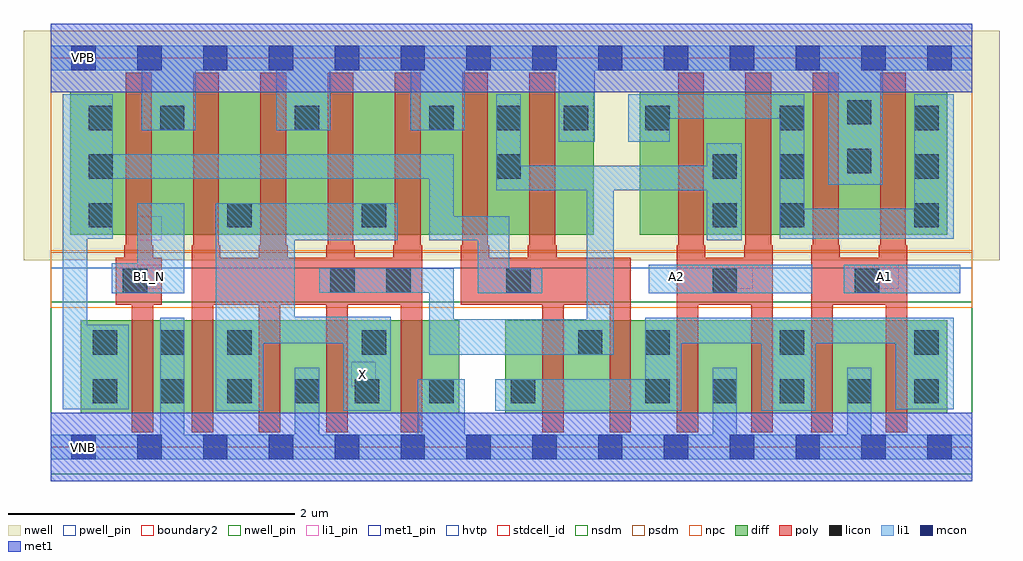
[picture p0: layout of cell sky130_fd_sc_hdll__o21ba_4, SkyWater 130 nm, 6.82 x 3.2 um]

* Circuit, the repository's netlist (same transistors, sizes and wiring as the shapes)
* Copyright 2020 The SkyWater PDK Authors
*
* Licensed under the Apache License, Version 2.0 (the "License");
* you may not use this file except in compliance with the License.
* You may obtain a copy of the License at
*
*     https://www.apache.org/licenses/LICENSE-2.0
*
* Unless required by applicable law or agreed to in writing, software
* distributed under the License is distributed on an "AS IS" BASIS,
* WITHOUT WARRANTIES OR CONDITIONS OF ANY KIND, either express or implied.
* See the License for the specific language governing permissions and
* limitations under the License.
*
* SPDX-License-Identifier: Apache-2.0

.SUBCKT sky130_fd_sc_hdll__o21ba_4 A1 A2 B1_N VGND VNB VPB VPWR X
*.PININFO A1:I A2:I B1_N:I VGND:I VNB:I VPB:I VPWR:I X:O
MMPA0 VPWR A1 sndA1 VPB sky130_fd_pr__pfet_01v8_hvt m=2 w=1.0U l=0.18U mult=1 sa=0.265
+ sb=0.265 sd=0.28 area=0.063 perim=1.14
MMPA1 sndA1 A2 y VPB sky130_fd_pr__pfet_01v8_hvt m=2 w=1.0U l=0.18U mult=1 sa=0.265
+ sb=0.265 sd=0.28 area=0.063 perim=1.14
MMPB0 VPWR B1 y VPB sky130_fd_pr__pfet_01v8_hvt m=2 w=1.0U l=0.18U mult=1 sa=0.265
+ sb=0.265 sd=0.28 area=0.063 perim=1.14
MMIPB1N B1 B1_N VPWR VPB sky130_fd_pr__pfet_01v8_hvt m=1 w=1.0U l=0.18U mult=1
+ sa=0.265 sb=0.265 sd=0.28 area=0.063 perim=1.14
MMIPX X y VPWR VPB sky130_fd_pr__pfet_01v8_hvt m=4 w=1.0U l=0.18U mult=1 sa=0.265
+ sb=0.265 sd=0.28 area=0.063 perim=1.14
MMNA0 pndA A1 VGND VNB sky130_fd_pr__nfet_01v8 m=2 w=0.65U l=0.15U mult=1 sa=0.265
+ sb=0.265 sd=0.28 area=0.063 perim=1.14
MMNA1 pndA A2 VGND VNB sky130_fd_pr__nfet_01v8 m=2 w=0.65U l=0.15U mult=1 sa=0.265
+ sb=0.265 sd=0.28 area=0.063 perim=1.14
MMNB0 y B1 pndA VNB sky130_fd_pr__nfet_01v8 m=2 w=0.65U l=0.15U mult=1 sa=0.265
+ sb=0.265 sd=0.28 area=0.063 perim=1.14
MMINB1N B1 B1_N VGND VNB sky130_fd_pr__nfet_01v8 m=1 w=0.65U l=0.15U mult=1 sa=0.265
+ sb=0.265 sd=0.28 area=0.063 perim=1.14
MMINX X y VGND VNB sky130_fd_pr__nfet_01v8 m=4 w=0.65U l=0.15U mult=1 sa=0.265
+ sb=0.265 sd=0.28 area=0.063 perim=1.14
.ENDS sky130_fd_sc_hdll__o21ba_4

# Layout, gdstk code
import gdstk
lib = gdstk.Library(unit=1e-6, precision=1e-09)
def R(c, l, rs):  # rectangles x0, y0, x1, y1
    for r in rs: c.add(gdstk.rectangle(r[:2], r[2:], *l))
def A(c, l, x, y, w, h, nx, ny, dx, dy):  # array of equal rectangles
    R(c, l, [(x+i*dx, y+j*dy, x+i*dx+w, y+j*dy+h) for i in range(nx) for j in range(ny)])
def P(c, l, *ps):  # polygons
    for p in ps: c.add(gdstk.Polygon(p, *l))
nwell_pin = (64, 16)
nwell = (64, 20)
diff = (65, 20)
poly = (66, 20)
licon = (66, 44)
li1_pin = (67, 16)
li1 = (67, 20)
mcon = (67, 44)
met1_pin = (68, 16)
met1 = (68, 20)
hvtp = (78, 44)
stdcell_id = (81, 4)
nsdm = (93, 44)
psdm = (94, 20)
npc = (95, 20)
pwell_pin = (122, 16)
boundary2 = (236, 0)

sky130_fd_sc_hdll__o21ba = lib.new_cell('sky130_fd_sc_hdll__o21ba_4')
R(sky130_fd_sc_hdll__o21ba, nwell_pin, [(0.145,2.635,0.315,2.805)])
R(sky130_fd_sc_hdll__o21ba, nwell, [(-0.19,1.305,6.63,2.91)])
R(sky130_fd_sc_hdll__o21ba, diff, [(0.21,0.235,2.855,0.885), (3.175,0.235,6.265,0.885), (0.135,1.485,3.795,2.485), (4.115,1.485,6.265,2.485)])
P(sky130_fd_sc_hdll__o21ba, poly, [(0.775,1.325),(0.715,1.325),(0.715,1.41),(0.705,1.41),(0.705,2.615),(0.525,2.615),(0.525,1.41),(0.515,1.41),(0.515,1.325),(0.455,1.325),(0.455,0.995),(0.565,0.995),(0.565,0.105),(0.715,0.105),(0.715,0.995),(0.775,0.995)],
  [(2.595,1.41),(2.585,1.41),(2.585,2.615),(2.405,2.615),(2.405,1.41),(2.395,1.41),(2.395,1.325),(2.125,1.325),(2.125,1.41),(2.115,1.41),(2.115,2.615),(1.935,2.615),(1.935,1.41),(1.925,1.41),(1.925,1.325),(1.655,1.325),(1.655,1.41),(1.645,1.41),(1.645,2.615),(1.465,2.615),(1.465,1.41),(1.455,1.41),(1.455,1.325),(1.185,1.325),(1.185,1.41),(1.175,1.41),(1.175,2.615),(0.995,2.615),(0.995,1.41),(0.985,1.41),(0.985,0.105),(1.135,0.105),(1.135,0.995),(1.455,0.995),(1.455,0.105),(1.605,0.105),(1.605,0.995),(1.925,0.995),(1.925,0.105),(2.075,0.105),(2.075,0.995),(2.445,0.995),(2.445,0.105),(2.595,0.105)],
  [(4.055,1.325),(3.535,1.325),(3.535,1.41),(3.525,1.41),(3.525,2.615),(3.345,2.615),(3.345,1.41),(3.335,1.41),(3.335,1.325),(3.065,1.325),(3.065,1.41),(3.055,1.41),(3.055,2.615),(2.875,2.615),(2.875,1.41),(2.865,1.41),(2.865,0.995),(3.435,0.995),(3.435,0.105),(3.585,0.105),(3.585,0.995),(3.905,0.995),(3.905,0.105),(4.055,0.105)],
  [(5.045,1.41),(5.035,1.41),(5.035,2.615),(4.855,2.615),(4.855,1.41),(4.845,1.41),(4.845,1.325),(4.575,1.325),(4.575,1.41),(4.565,1.41),(4.565,2.615),(4.385,2.615),(4.385,1.41),(4.375,1.41),(4.375,0.105),(4.525,0.105),(4.525,0.995),(4.895,0.995),(4.895,0.105),(5.045,0.105)],
  [(5.985,1.41),(5.975,1.41),(5.975,2.615),(5.795,2.615),(5.795,1.41),(5.785,1.41),(5.785,1.325),(5.515,1.325),(5.515,1.41),(5.505,1.41),(5.505,2.615),(5.325,2.615),(5.325,1.41),(5.315,1.41),(5.315,0.105),(5.465,0.105),(5.465,0.995),(5.835,0.995),(5.835,0.105),(5.985,0.105)])
A(sky130_fd_sc_hdll__o21ba, licon, 0.295, 0.305, 0.17, 0.17, 4, 1, 0.47, 0)
A(sky130_fd_sc_hdll__o21ba, licon, 4.155, 0.305, 0.17, 0.17, 5, 1, 0.47, 0)
A(sky130_fd_sc_hdll__o21ba, licon, 0.295, 0.645, 0.17, 0.17, 3, 1, 0.47, 0)
A(sky130_fd_sc_hdll__o21ba, licon, 4.155, 0.645, 0.17, 0.17, 3, 2, 0.94, 1.57)
A(sky130_fd_sc_hdll__o21ba, licon, 0.265, 1.535, 0.17, 0.17, 1, 3, 0, 0.34)
A(sky130_fd_sc_hdll__o21ba, licon, 0.765, 2.215, 0.17, 0.17, 3, 1, 0.94, 0)
R(sky130_fd_sc_hdll__o21ba, licon, [(2.125,0.305,2.295,0.475), (2.645,0.305,2.815,0.475), (3.215,0.305,3.385,0.475), (2.175,0.645,2.345,0.815), (3.685,0.645,3.855,0.815), (0.505,1.075,0.675,1.245), (3.185,1.075,3.355,1.245), (4.625,1.075,4.795,1.245), (5.62,1.075,5.79,1.245), (1.955,1.08,2.125,1.25), (2.345,1.08,2.515,1.25), (1.235,1.535,1.405,1.705), (2.175,1.535,2.345,1.705), (4.625,1.535,4.795,1.705), (5.095,1.535,5.265,1.705), (6.035,1.535,6.205,1.705), (3.115,1.875,3.285,2.045), (4.625,1.875,4.795,2.045), (5.095,1.875,5.265,2.045), (6.035,1.875,6.205,2.045), (5.565,1.915,5.735,2.085), (3.115,2.215,3.285,2.385), (3.585,2.215,3.755,2.385), (5.565,2.255,5.735,2.425)])
R(sky130_fd_sc_hdll__o21ba, li1_pin, [(2.1,0.425,2.27,0.595), (0.605,1.105,0.775,1.275), (4.735,1.105,4.905,1.275), (5.755,1.105,5.925,1.275), (0.605,1.445,0.775,1.615)])
R(sky130_fd_sc_hdll__o21ba, li1, [(4.18,1.075,5.32,1.275), (5.54,1.075,6.355,1.275)])
P(sky130_fd_sc_hdll__o21ba, li1, [(0.935,1.705),(0.605,1.705),(0.605,1.285),(0.425,1.285),(0.425,1.075),(0.935,1.075)],
  [(2.375,0.91),(1.705,0.91),(1.705,1.445),(2.425,1.445),(2.425,1.705),(1.155,1.705),(1.155,0.255),(1.485,0.255),(1.485,0.725),(2.045,0.725),(2.045,0.255),(2.375,0.255)],
  [(3.435,1.245),(3.205,1.245),(3.205,1.615),(2.815,1.615),(2.815,2.045),(0.435,2.045),(0.435,2.465),(0.085,2.465),(0.085,0.265),(0.545,0.265),(0.545,0.855),(0.255,0.855),(0.255,1.455),(0.435,1.455),(0.435,1.875),(2.645,1.875),(2.645,1.445),(2.985,1.445),(2.985,1.075),(3.435,1.075)],
  [(6.44,0.085),(5.735,0.085),(5.735,0.555),(5.565,0.555),(5.565,0.085),(4.795,0.085),(4.795,0.555),(4.625,0.555),(4.625,0.085),(2.895,0.085),(2.895,0.475),(2.565,0.475),(2.565,0.085),(1.875,0.085),(1.875,0.555),(1.705,0.555),(1.705,0.085),(0.935,0.085),(0.935,0.905),(0.765,0.905),(0.765,0.085),(0,0.085),(0,-0.085),(6.44,-0.085)],
  [(6.44,2.805),(0,2.805),(0,2.635),(0.635,2.635),(0.635,2.215),(1.015,2.215),(1.015,2.635),(1.575,2.635),(1.575,2.215),(1.955,2.215),(1.955,2.635),(2.515,2.635),(2.515,2.215),(2.895,2.215),(2.895,2.635),(3.55,2.635),(3.55,2.135),(3.8,2.135),(3.8,2.635),(5.435,2.635),(5.435,1.835),(5.815,1.835),(5.815,2.635),(6.44,2.635)],
  [(4.83,2.125),(4.585,2.125),(4.585,1.965),(3.285,1.965),(3.285,2.465),(3.115,2.465),(3.115,1.795),(3.745,1.795),(3.745,0.895),(2.815,0.895),(2.815,1.25),(1.875,1.25),(1.875,1.08),(2.645,1.08),(2.645,0.645),(3.935,0.645),(3.935,1.795),(4.585,1.795),(4.585,1.445),(4.83,1.445)],
  [(6.31,2.465),(6.035,2.465),(6.035,1.665),(5.265,1.665),(5.265,2.465),(4.035,2.465),(4.035,2.135),(4.325,2.135),(4.325,2.295),(5.095,2.295),(5.095,1.455),(6.31,1.455)],
  [(6.31,0.905),(4.155,0.905),(4.155,0.475),(3.105,0.475),(3.105,0.255),(4.405,0.255),(4.405,0.725),(4.965,0.725),(4.965,0.255),(5.345,0.255),(5.345,0.725),(5.905,0.725),(5.905,0.265),(6.31,0.265)])
A(sky130_fd_sc_hdll__o21ba, mcon, 0.145, -0.085, 0.17, 0.17, 14, 2, 0.46, 2.72)
R(sky130_fd_sc_hdll__o21ba, met1_pin, [(0.145,-0.085,0.315,0.085), (0.145,2.635,0.315,2.805)])
R(sky130_fd_sc_hdll__o21ba, met1, [(0,-0.24,6.44,0.24), (0,2.48,6.44,2.96)])
R(sky130_fd_sc_hdll__o21ba, hvtp, [(0,1.25,6.44,2.72)])
R(sky130_fd_sc_hdll__o21ba, stdcell_id, [(0,0,6.44,2.72)])
R(sky130_fd_sc_hdll__o21ba, nsdm, [(0,-0.19,6.44,1.015)])
R(sky130_fd_sc_hdll__o21ba, psdm, [(0,1.36,6.44,2.91)])
R(sky130_fd_sc_hdll__o21ba, npc, [(0,0.975,6.44,1.375)])
R(sky130_fd_sc_hdll__o21ba, pwell_pin, [(0.145,-0.085,0.315,0.085)])
R(sky130_fd_sc_hdll__o21ba, boundary2, [(0,0,6.44,2.72)])
sky130_fd_sc_hdll__o21ba.add(gdstk.Label('B1_N', (0.69,1.19), layer=67, texttype=5))
sky130_fd_sc_hdll__o21ba.add(gdstk.Label('A1', (5.825,1.19), layer=67, texttype=5))
sky130_fd_sc_hdll__o21ba.add(gdstk.Label('A2', (4.37,1.19), layer=67, texttype=5))
sky130_fd_sc_hdll__o21ba.add(gdstk.Label('X', (2.18,0.51), layer=67, texttype=5))
sky130_fd_sc_hdll__o21ba.add(gdstk.Label('VNB', (0.23,0), layer=64, texttype=59))
sky130_fd_sc_hdll__o21ba.add(gdstk.Label('VPB', (0.23,2.72), layer=64, texttype=5))
sky130_fd_sc_hdll__o21ba.add(gdstk.Label('VGND', (0.23,0), layer=68, texttype=5))
sky130_fd_sc_hdll__o21ba.add(gdstk.Label('VPWR', (0.23,2.72), layer=68, texttype=5))
sky130_fd_sc_hdll__o21ba.add(gdstk.Label('o21ba_4', (0,0), layer=83, texttype=44))

lib.write_gds('sky130_fd_sc_hdll__o21ba_4.gds')
